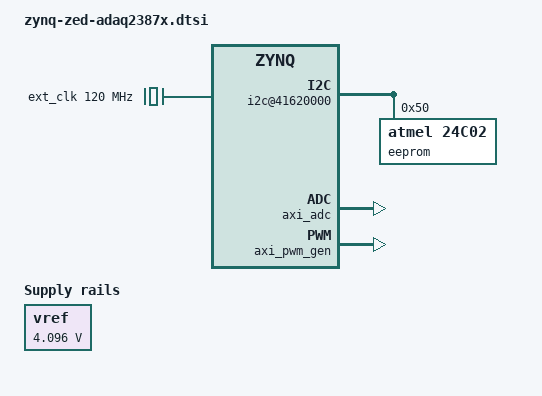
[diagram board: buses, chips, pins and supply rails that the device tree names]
// SPDX-License-Identifier: GPL-2.0
/*
 * EV-ADAQ2387xFMCZ on ZedBoard, running the adaq2387x HDL project.
 * Test only, not for submission.
 */
/dts-v1/;
#include "zynq-zed.dts"

#include <dt-bindings/interrupt-controller/irq.h>

/ {
	vref: regulator-vref {
		compatible = "regulator-fixed";
		regulator-name = "vref-4v096";
		regulator-min-microvolt = <4096000>;
		regulator-max-microvolt = <4096000>;
		regulator-always-on;
	};

	/* 120 MHz reference from the HDL clock wizard */
	ext_clk: clock-ext {
		compatible = "fixed-clock";
		#clock-cells = <0>;
		clock-frequency = <120000000>;
	};

	fpga-bus {
		compatible = "simple-bus";
		#address-cells = <1>;
		#size-cells = <1>;
		ranges;
		interrupt-parent = <&intc>;

		/* FMC I2C, FRU EEPROM on the evaluation board */
		i2c@41620000 {
			compatible = "xlnx,xps-iic-2.00.a";
			reg = <0x41620000 0x10000>;
			interrupts = <0 55 IRQ_TYPE_LEVEL_HIGH>;
			clocks = <&clkc 15>;
			#address-cells = <1>;
			#size-cells = <0>;

			eeprom@50 {
				compatible = "atmel,24c02";
				reg = <0x50>;
			};
		};

		axi_adc: adc@44a00000 {
			compatible = "adi,axi-adc-10.0.a";
			reg = <0x44a00000 0x10000>;
			dmas = <&rx_dma 0>;
			dma-names = "rx";
			clocks = <&clkc 15>;
			#io-backend-cells = <0>;
		};

		rx_dma: dma-controller@44a30000 {
			compatible = "adi,axi-dmac-1.00.a";
			reg = <0x44a30000 0x1000>;
			#dma-cells = <1>;
			interrupts = <0 57 IRQ_TYPE_LEVEL_HIGH>;
			clocks = <&clkc 15>;
		};

		axi_pwm_gen: pwm@44a60000 {
			compatible = "adi,axi-pwmgen-2.00.a";
			reg = <0x44a60000 0x1000>;
			#pwm-cells = <3>;
			clocks = <&clkc 15>, <&ext_clk>;
			clock-names = "axi", "ext";
		};
	};
};
